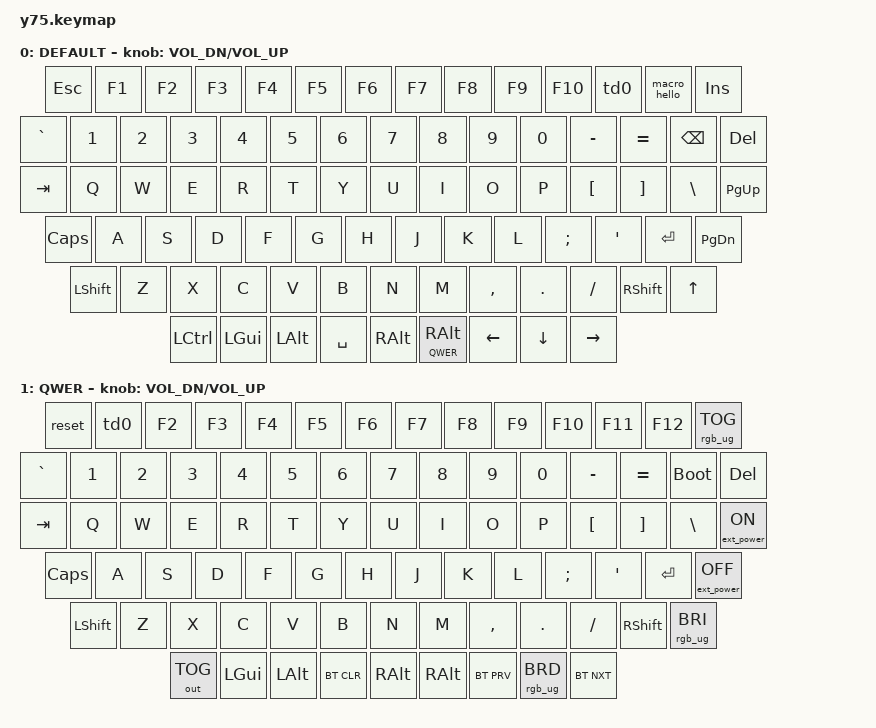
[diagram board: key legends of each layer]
/*
 * Copyright (c) 2021 Nick Winans
 *
 * SPDX-License-Identifier: MIT
 */

#include <behaviors.dtsi>
#include <dt-bindings/zmk/keys.h>
#include <dt-bindings/zmk/rgb.h>
#include <dt-bindings/zmk/bt.h>
#include <dt-bindings/zmk/outputs.h>
#include <dt-bindings/zmk/ext_power.h>
#define DEFAULT 0
#define QWER 1


	/ {
		 behaviors {
        td0: tap_dance_0 {
            compatible = "zmk,behavior-tap-dance";
            label = "TAP_DANCE_0";
            #binding-cells = <0>;
            tapping-term-ms = <200>;
            bindings = <&kp N1>, <&kp N2>, <&kp N3>;
        };
    };
	 behaviors {
        td_mt: tap_dance_mod_tap {
            compatible = "zmk,behavior-tap-dance";
            label = "TAP_DANCE_MOD_TAP";
            #binding-cells = <0>;
            tapping-term-ms = <200>;
            bindings = <&mt LSHIFT CAPSLOCK>, <&kp LCTRL>;
        };
    };
	
    macro {
		//hello
        macro_hello: macro_hello { 
            compatible = "zmk,behavior-macro";
            label = "MACRO_HELLO";
            #binding-cells = <0>;
            bindings = <&kp H &kp E &kp L &kp L &kp O>;
        };
	};
	keymap {
		compatible = "zmk,keymap";
		default_layer {
			 label = "DEFAULT";
			 bindings = <
	 &kp ESC   &kp F1 &kp F2 &kp F3 &kp F4 &kp F5 &kp F6 &kp F7 &kp F8 &kp F9 &kp F10 &td0 &macro_hello                &kp INS
	&kp GRAVE  &kp N1 &kp N2 &kp N3 &kp N4 &kp N5 &kp N6 &kp N7 &kp N8 &kp N9 &kp N0 &kp MINUS &kp EQUAL  &kp BSPC   &kp DEL
	&kp TAB  &kp Q  &kp W  &kp E  &kp R  &kp T  &kp Y  &kp U  &kp I  &kp O  &kp P  &kp LBKT  &kp RBKT  &kp BSLH      &kp PG_UP
	&kp CLCK  &kp A  &kp S  &kp D  &kp F  &kp G  &kp H  &kp J  &kp K  &kp L  &kp SEMI &kp SQT &kp RET                &kp PG_DN
	&kp LSHFT   &kp Z  &kp X  &kp C  &kp V  &kp B  &kp N  &kp M  &kp COMMA &kp DOT &kp FSLH   &kp RSHFT       &kp UP 
	&kp LCTRL &kp LGUI &kp LALT             &kp SPACE                     &kp RALT    &lt QWER RALT          &kp LEFT &kp DOWN &kp RIGHT
			>;
			   sensor-bindings = <&inc_dec_kp C_VOL_DN C_VOL_UP>;
		};
		qwer_layer {
			 label = "QWER";
			bindings = <
	&reset   &td0 &kp F2 &kp F3 &kp F4 &kp F5 &kp F6 &kp F7 &kp F8 &kp F9 &kp F10 &kp F11 &kp F12                            &rgb_ug RGB_TOG
	&kp GRAVE  &kp N1 &kp N2 &kp N3 &kp N4 &kp N5 &kp N6 &kp N7 &kp N8 &kp N9 &kp N0 &kp MINUS &kp EQUAL  &bootloader             &kp DEL
	&kp TAB  &kp Q  &kp W  &kp E  &kp R  &kp T  &kp Y  &kp U  &kp I  &kp O  &kp P  &kp LBKT  &kp RBKT  &kp BSLH                &ext_power EP_ON
	&kp CLCK  &kp A  &kp S  &kp D  &kp F  &kp G  &kp H  &kp J  &kp K  &kp L  &kp SEMI &kp SQT &kp RET                          &ext_power EP_OFF
	&kp LSHFT   &kp Z  &kp X  &kp C  &kp V  &kp B  &kp N  &kp M  &kp COMMA &kp DOT &kp FSLH   &kp RSHFT              &rgb_ug RGB_BRI
	&out OUT_TOG &kp LGUI &kp LALT            &bt BT_CLR                    &kp RALT    &kp RALT          &bt BT_PRV &rgb_ug RGB_BRD &bt BT_NXT
			>;
			   sensor-bindings = <&inc_dec_kp C_VOL_DN C_VOL_UP>;
		};
	};
};
